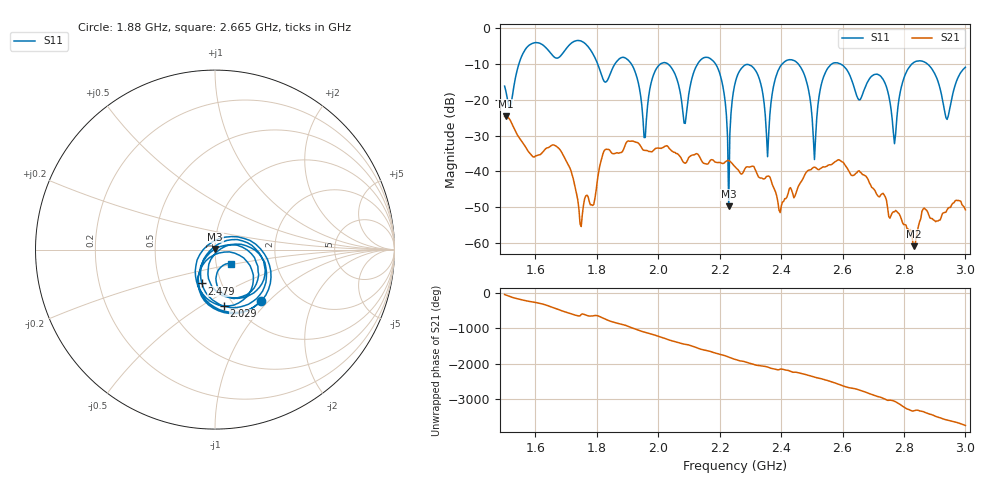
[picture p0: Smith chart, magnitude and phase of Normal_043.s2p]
# HZ S RI R 50
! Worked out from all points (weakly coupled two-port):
!   404 points, 1.5 GHz to 3 GHz, reference 50 ohm
!   highest |S21| = -24.62 dB at 1.504 GHz (marker M1); lowest = -60.8 dB at 2.833 GHz (marker M2)
!   lowest |S11| = -49.7 dB at 2.23 GHz (marker M3), VSWR 1.01, Z = 50 + j0.327 ohm
!   |S11| at or under -10 dB: 2.186 GHz to 2.405 GHz (218.9 MHz wide, 9.54 % of centre); 2.591 GHz to 2.827 GHz (236.6 MHz wide, 8.73 % of centre); 2.875 GHz to end of sweep (the widest 3 of 8)
!   S12 and S22 are empty: the file has one direction only
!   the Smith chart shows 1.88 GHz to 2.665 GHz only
!   S11 on the Smith chart (normalised r, x): 1.88 GHz: 1.34, -0.90; 2.029 GHz: 0.90, -0.63; 2.479 GHz: 0.81, -0.32; 2.665 GHz: 1.18, -0.19
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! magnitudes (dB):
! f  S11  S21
! 1.5 GHz  -16.3  -24.7
! 1.504 GHz  -17.5  -24.6
! 1.753 GHz  -3.9  -51.9
! 1.88 GHz  -8.3  -34.7
! 1.954 GHz  -30.6  -34.1
! 2.002 GHz  -10.5  -33.5
! 2.029 GHz  -9.9  -32.8
! 2.088 GHz  -26.6  -37.7
! 2.181 GHz  -9.5  -37.0
! 2.23 GHz  -49.7  -36.9
! 2.252 GHz  -14.9  -38.8
! 2.315 GHz  -11.7  -39.4
! 2.356 GHz  -35.9  -41.3
! 2.401 GHz  -10.4  -49.6
! 2.479 GHz  -13.9  -40.6
! 2.501 GHz  -25.3  -39.1
! 2.568 GHz  -9.9  -37.8
! 2.665 GHz  -18.6  -40.9
! 2.751 GHz  -19.0  -52.6
! 2.833 GHz  -9.7  -60.8
! 2.94 GHz  -25.5  -50.7
! 3 GHz  -11.0  -50.7
